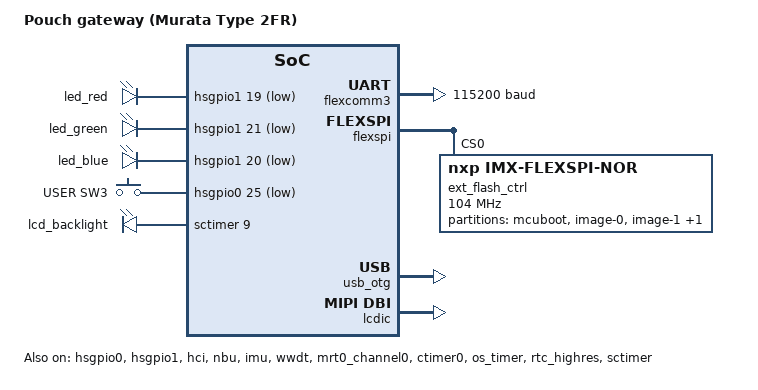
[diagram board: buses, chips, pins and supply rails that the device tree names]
/*
 * Pouch gateway: Murata Type 2FR module (LBES0ZZ2FR, NXP RW612), Wi-Fi only.
 *
 * Derived from Zephyr's frdm_rw612 (Copyright 2024-2025 NXP, Apache-2.0).
 * Hardware: hardware\gateway (KiCad). Every pin below was read from the
 * KiCad netlist on 2026-11-13; the pin table is in firmware\README.md.
 *
 * Removed from the FRDM board: Ethernet MAC/MDIO and the KSZ8081 PHY,
 * Arduino / mikroBUS / PMOD headers, flexcomm1 SPI, flexcomm2 I2C and the
 * P3T1755 temperature sensor, ADC, DAC, the 8 MB pSRAM and the 64 MB
 * Winbond W25Q512JV (the module has its own 16 MB flash instead).
 *
 * SPDX-License-Identifier: Apache-2.0
 */

/dts-v1/;

#include <nxp/rw/nxp_rw6xx.dtsi>
#include "pouch_gateway-pinctrl.dtsi"
#include <zephyr/dt-bindings/input/input-event-codes.h>
#include <zephyr/dt-bindings/pwm/pwm.h>
#include <zephyr/dt-bindings/spi/spi.h>

/ {
	model = "Pouch gateway (Murata Type 2FR)";
	compatible = "others,pouch-gateway";

	aliases {
		led0 = &led_green;
		led1 = &led_red;
		led2 = &led_blue;
		sw0 = &user_button;
		watchdog0 = &wwdt;
		usart-0 = &flexcomm3;
		pwm-0 = &sctimer;
	};

	chosen {
		zephyr,sram = &sram_data;
		zephyr,flash = &int_flash;
		zephyr,flash-controller = &ext_flash_ctrl;
		zephyr,code-partition = &slot0_partition;
		/* J4 UART header (DNP on Rev A). A USB CDC-ACM console is not set up. */
		zephyr,console = &flexcomm3;
		zephyr,shell-uart = &flexcomm3;
		zephyr,uart-mcumgr = &flexcomm3;
	};

	/* LEDs: anode to +3V3, cathode through a resistor to the GPIO, so active low */
	leds {
		compatible = "gpio-leds";

		led_red: led_red {
			/* D3, R14 470R, GPIO_51 (U1.63) */
			gpios = <&hsgpio1 19 GPIO_ACTIVE_LOW>;
		};

		led_green: led_green {
			/* D4, R15 100R, GPIO_53 (U1.113) */
			gpios = <&hsgpio1 21 GPIO_ACTIVE_LOW>;
		};

		led_blue: led_blue {
			/* D5, R16 100R, GPIO_52 (U1.64) */
			gpios = <&hsgpio1 20 GPIO_ACTIVE_LOW>;
		};
	};

	gpio_keys {
		compatible = "gpio-keys";

		user_button: button_0 {
			/* SW3 USER: GPIO_25 (U1.87), R17 100R in series, R18 10k pull-up to +3V3, switch to GND */
			label = "USER SW3";
			gpios = <&hsgpio0 25 GPIO_ACTIVE_LOW>;
			zephyr,code = <INPUT_KEY_0>;
		};
	};

	/*
	 * LCD backlight on J5.8: GPIO_55 (U1.109) = SCT0 OUT9 through R23 0R.
	 * Whether the Waveshare module's BL pin drives its own transistor is not
	 * verified (DESIGN_NOTES.md); do not run the PWM at full duty on the raw LED.
	 */
	pwm_leds {
		compatible = "pwm-leds";

		lcd_backlight: lcd_backlight {
			pwms = <&sctimer 9 PWM_KHZ(1) PWM_POLARITY_NORMAL>;
		};
	};
};

/*
 * Console: flexcomm3 USART on J4 (DNP), GPIO_24 RX / GPIO_26 TX, 115200 8N1,
 * 3.3 V. J4 (netlist): 1 GND, 2 UART_TX (module TX output), 3 UART_RX (module RX input).
 */
&flexcomm3 {
	compatible = "nxp,lpc-usart";
	status = "okay";
	current-speed = <115200>;
	pinctrl-0 = <&pinmux_flexcomm3_usart>;
	pinctrl-names = "default";
	wakeup-source;
};

&hsgpio0 {
	status = "okay";
	pinctrl-0 = <&pinmux_hsgpio0>;
	pinctrl-names = "default";
};

&hsgpio1 {
	status = "okay";
	pinctrl-0 = <&pinmux_hsgpio1>;
	pinctrl-names = "default";
};

/*
 * 16 MB flash inside the Type 2FR module on FlexSPI port A (CS_Int_Flash U1.80
 * tied to GPIO_28 U1.98 by R6). The module datasheet says "16MB Winbond"; the
 * exact part and its JEDEC id are not given, so jedec-id is left out (the
 * driver then skips the id check). The FCB is LBES0ZZ2FR_FCB.c.
 * size is in bits.
 */
&flexspi {
	status = "okay";
	ahb-bufferable;
	ahb-prefetch;
	ahb-cacheable;
	ahb-read-addr-opt;
	ahb-boundary = "1024";
	rx-clock-source = <1>;
	rx-clock-source-b = <1>;

	ext_flash_ctrl: flash-controller@0 {
		compatible = "nxp,imx-flexspi-nor";
		reg = <0>;
		size = <DT_SIZE_M(16 * 8)>;
		status = "okay";
		spi-max-frequency = <DT_FREQ_M(104)>;

		#address-cells = <1>;
		#size-cells = <1>;
		ranges = <0x0 0x18000000 DT_SIZE_M(16)>;

		int_flash: flash@0 {
			compatible = "soc-nv-flash";
			reg = <0x0 DT_SIZE_M(16)>;
			erase-block-size = <4096>;
			write-block-size = <1>;

			partitions {
				compatible = "fixed-partitions";
				#address-cells = <1>;
				#size-cells = <1>;

				/* Same layout as FRDM-RW612, storage shortened to the 16 MB flash.
				 * Sizes are multiples of the 4 KB sector. */
				boot_partition: partition@0 {
					label = "mcuboot";
					reg = <0x00000000 DT_SIZE_K(128)>;
				};

				slot0_partition: partition@20000 {
					label = "image-0";
					reg = <0x00020000 DT_SIZE_M(3)>;
				};

				slot1_partition: partition@320000 {
					label = "image-1";
					reg = <0x00320000 DT_SIZE_M(3)>;
				};

				storage_partition: partition@620000 {
					label = "storage";
					reg = <0x00620000 (DT_SIZE_M(16) - DT_SIZE_K(6272))>;
				};
			};
		};
	};
};

/* Wi-Fi and BLE run on the network core (NBU), controller firmware is linked in */
&hci {
	status = "okay";
	wakeup-source;
};

&nbu {
	status = "okay";
	wakeup-source;
};

&imu {
	status = "okay";
	wakeup-source;
};

&wwdt {
	status = "okay";
};

&dma0 {
	status = "okay";
};

&mrt0_channel0 {
	status = "okay";
};

&ctimer0 {
	status = "okay";
};

&pmu {
	reset-causes-en = <PMU_RESET_CM33_LOCKUP>,
			  <PMU_RESET_ITRC>,
			  <PMU_RESET_AP_RESET>;
};

/* OS Timer is the wakeup source for PM mode 2. The 32.768 kHz crystal is not fitted (xtal32 stays disabled). */
&os_timer {
	status = "okay";
	wakeup-source;
	deep-sleep-counter = <&rtc_highres>;
};

&systick {
	status = "disabled";
};

/* RTC is the wakeup source for PM modes 3,4 */
&rtc_highres {
	status = "okay";
	wakeup-source;
};

/* LCD backlight PWM */
&sctimer {
	status = "okay";
	pinctrl-0 = <&pinmux_pwm_backlight>;
	pinctrl-names = "default";
};

/* USB-C J1 (full device, USB_DP GPIO U1.29 / USB_DM U1.30, VBUS sense on U1.33 through R5, USB_ID not connected) */
zephyr_udc0: &usb_otg {
	status = "okay";
};

/*
 * J5, Waveshare 2in LCD (ST7789VW, 240x320) on the LCDIC in SPI 4-wire mode.
 * The panel node is disabled: no display driver work yet, the values below
 * are the generic Zephyr ST7789V set and have not been tuned for this panel.
 */
zephyr_mipi_dbi_spi: &lcdic {
	status = "okay";
	pinctrl-0 = <&pinmux_lcdic>;
	pinctrl-names = "default";
	nxp,swap-bytes;

	st7789v_lcd: st7789v@0 {
		compatible = "sitronix,st7789v";
		status = "disabled";
		reg = <0>;
		mipi-max-frequency = <DT_FREQ_M(20)>;
		mipi-mode = "MIPI_DBI_MODE_SPI_4WIRE";
		width = <240>;
		height = <320>;
		x-offset = <0>;
		y-offset = <0>;
		vcom = <0x19>;
		gctrl = <0x35>;
		vrhs = <0x12>;
		vdvs = <0x20>;
		mdac = <0x00>;
		gamma = <0x01>;
		colmod = <0x55>;
		lcm = <0x2c>;
		porch-param = [0c 0c 00 33 33];
		cmd2en-param = [5a 69 02 01];
		pwctrl1-param = [a4 a1];
		pvgam-param = [d0 04 0d 11 13 2b 3f 54 4c 18 0d 0b 1f 23];
		nvgam-param = [d0 04 0c 11 13 2c 3f 44 51 2f 1f 1f 20 23];
		ram-param = [00 f0];
		rgb-param = [cd 08 14];
	};
};

/* power-states: as FRDM-RW612. Idle = PM mode 1, suspend = mode 2, standby = mode 3 */
&idle {
	min-residency-us = <0>;
};

&suspend {
	min-residency-us = <412>;
};

&standby {
	exit-latency-us = <13460>;
	min-residency-us = <1690>;
};
